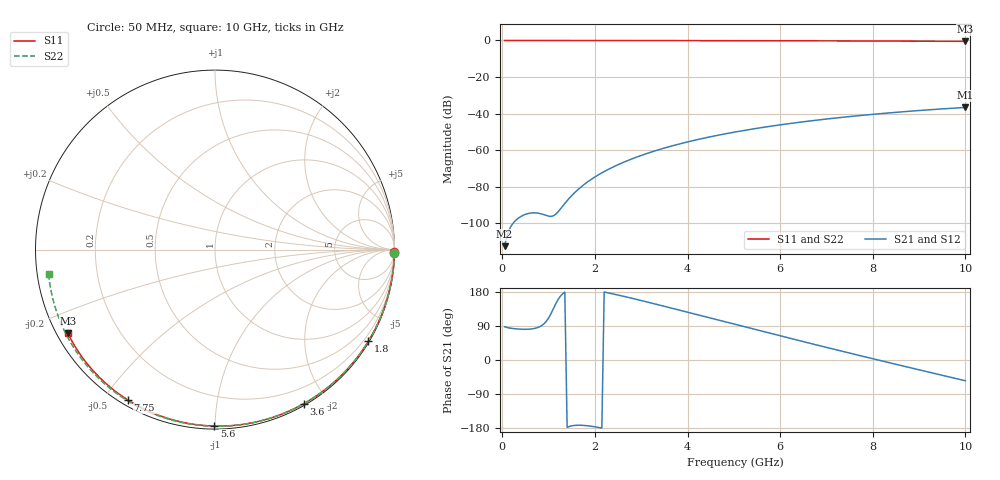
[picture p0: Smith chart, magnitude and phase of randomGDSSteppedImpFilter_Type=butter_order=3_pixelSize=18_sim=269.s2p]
! freq	dB(S11)	phase(S11)	dB(S12)	phase(S12)
!  dB(S21)	phase(S21)	dB(S22)	phase(S22)
!S-par simulation data
#  GHz  S  DB  R 50
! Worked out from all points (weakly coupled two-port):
!   200 points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, 50 MHz to 10 GHz, reference 50 ohm
!   highest |S21| = -36.66 dB at 10 GHz (marker M1); lowest = -112.6 dB at 50 MHz (marker M2)
!   lowest |S11| = -0.5 dB at 10 GHz (marker M3), VSWR 34.35, Z = 1.56 - j13.2 ohm
!   |S11| at or under -10 dB: nowhere
!   |S22| runs from -0.6 to 0.0 dB; largest |S21 - S12| = 0
!   S11 on the Smith chart (normalised r, x): 50 MHz: open; 1.8 GHz: 0.03, -3.62; 3.6 GHz: 0.02, -1.73; 5.6 GHz: 0.02, -1.00; 7.75 GHz: 0.02, -0.58; 10 GHz: 0.03, -0.26
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0.05  -0.00 -0.9  -112.61 87.7  -112.61 87.7  -0.00 -1.0
0.45  -0.01 -7.8  -95.70 81.1  -95.70 81.1  -0.01 -8.9
0.85  -0.02 -14.7  -94.98 90.8  -94.98 90.8  -0.02 -16.7
1.25  -0.03 -21.6  -92.44 167.6  -92.44 167.6  -0.03 -24.4
1.7  -0.04 -29.2  -80.19 -172.3  -80.19 -172.3  -0.04 -33.0
1.75  -0.04 -30.0  -79.17 -172.6  -79.17 -172.6  -0.04 -34.0
1.8  -0.04 -30.9  -78.20 -173.1  -78.20 -173.1  -0.04 -34.9
2.1  -0.05 -35.9  -73.19 -178.4  -73.19 -178.4  -0.05 -40.6
2.3  -0.05 -39.2  -70.43 176.8  -70.43 176.8  -0.06 -44.3
2.5  -0.05 -42.5  -68.00 171.5  -68.00 171.5  -0.06 -48.0
2.9  -0.06 -49.0  -63.86 160.0  -63.86 160.0  -0.07 -55.4
3.4  -0.08 -57.0  -59.64 144.8  -59.64 144.8  -0.09 -64.3
3.6  -0.08 -60.1  -58.18 138.6  -58.18 138.6  -0.09 -67.9
4.3  -0.10 -71.0  -53.78 116.7  -53.78 116.7  -0.11 -80.0
5.05  -0.13 -82.2  -50.01 93.2  -50.01 93.2  -0.14 -92.6
5.6  -0.15 -90.2  -47.69 76.1  -47.69 76.1  -0.17 -101.6
6.15  -0.17 -98.1  -45.67 59.1  -45.67 59.1  -0.20 -110.4
6.7  -0.21 -105.7  -43.89 42.3  -43.89 42.3  -0.23 -119.1
7.75  -0.28 -120.1  -41.03 10.8  -41.03 10.8  -0.31 -135.5
8.35  -0.33 -128.1  -39.66 -7.0  -39.66 -7.0  -0.37 -144.9
9.2  -0.41 -139.5  -37.98 -31.7  -37.98 -31.7  -0.46 -158.4
10  -0.51 -150.3  -36.66 -54.7  -36.66 -54.7  -0.56 -171.5
